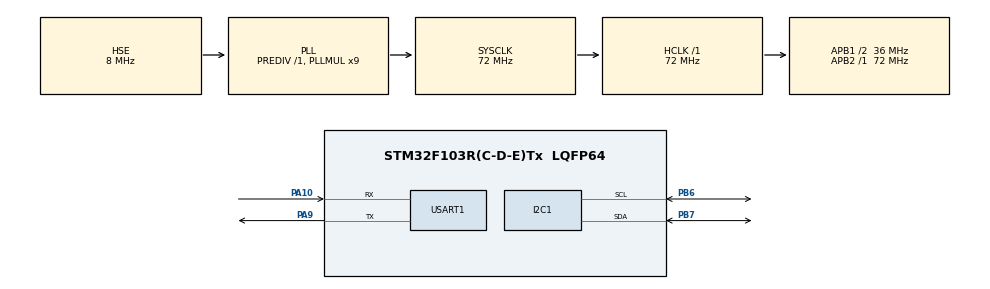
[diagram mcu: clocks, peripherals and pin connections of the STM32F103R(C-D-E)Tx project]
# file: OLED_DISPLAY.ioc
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Mcu.Family=STM32F1
Mcu.Name=STM32F103R(C-D-E)Tx
Mcu.Package=LQFP64
NVIC.PriorityGroup=NVIC_PRIORITYGROUP_4
PA10.Mode=Asynchronous
PA10.Signal=USART1_RX
PA13.Mode=Serial_Wire
PA13.Signal=SYS_JTMS-SWDIO
PA14.Mode=Serial_Wire
PA14.Signal=SYS_JTCK-SWCLK
PA9.Mode=Asynchronous
PA9.Signal=USART1_TX
PB6.Mode=I2C
PB6.Signal=I2C1_SCL
PB7.Mode=I2C
PB7.Signal=I2C1_SDA
PD0-OSC_IN.Mode=HSE-External-Oscillator
PD0-OSC_IN.Signal=RCC_OSC_IN
PD1-OSC_OUT.Mode=HSE-External-Oscillator
PD1-OSC_OUT.Signal=RCC_OSC_OUT
ProjectManager.HeapSize=0x200
ProjectManager.StackSize=0x400
ProjectManager.TargetToolchain=EWARM
RCC.AHBFreq_Value=72000000
RCC.APB1CLKDivider=RCC_HCLK_DIV2
RCC.APB1Freq_Value=36000000
RCC.APB1TimFreq_Value=72000000
RCC.APB2Freq_Value=72000000
RCC.APB2TimFreq_Value=72000000
RCC.HCLKFreq_Value=72000000
RCC.PLLMUL=RCC_PLL_MUL9
RCC.PLLSourceVirtual=RCC_PLLSOURCE_HSE
RCC.SYSCLKFreq_VALUE=72000000
RCC.SYSCLKSource=RCC_SYSCLKSOURCE_PLLCLK
RCC.USBFreq_Value=72000000
USART1.VirtualMode=VM_ASYNC
board=OLED_DISPLAY

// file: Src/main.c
/**
  ******************************************************************************
  * File Name          : main.c
  * Description        : Main program body
  ******************************************************************************
  ** This notice applies to any and all portions of this file
  * that are not between comment pairs USER CODE BEGIN and
  * USER CODE END. Other portions of this file, whether
  * inserted by the user or by software development tools
  * are owned by their respective copyright owners.
  *
  * COPYRIGHT(c) 2018 STMicroelectronics
  *
  * Redistribution and use in source and binary forms, with or without modification,
  * are permitted provided that the following conditions are met:
  *   1. Redistributions of source code must retain the above copyright notice,
  *      this list of conditions and the following disclaimer.
  *   2. Redistributions in binary form must reproduce the above copyright notice,
  *      this list of conditions and the following disclaimer in the documentation
  *      and/or other materials provided with the distribution.
  *   3. Neither the name of STMicroelectronics nor the names of its contributors
  *      may be used to endorse or promote products derived from this software
  *      without specific prior written permission.
  *
  * THIS SOFTWARE IS PROVIDED BY THE COPYRIGHT HOLDERS AND CONTRIBUTORS "AS IS"
  * AND ANY EXPRESS OR IMPLIED WARRANTIES, INCLUDING, BUT NOT LIMITED TO, THE
  * IMPLIED WARRANTIES OF MERCHANTABILITY AND FITNESS FOR A PARTICULAR PURPOSE ARE
  * DISCLAIMED. IN NO EVENT SHALL THE COPYRIGHT HOLDER OR CONTRIBUTORS BE LIABLE
  * FOR ANY DIRECT, INDIRECT, INCIDENTAL, SPECIAL, EXEMPLARY, OR CONSEQUENTIAL
  * DAMAGES (INCLUDING, BUT NOT LIMITED TO, PROCUREMENT OF SUBSTITUTE GOODS OR
  * SERVICES; LOSS OF USE, DATA, OR PROFITS; OR BUSINESS INTERRUPTION) HOWEVER
  * CAUSED AND ON ANY THEORY OF LIABILITY, WHETHER IN CONTRACT, STRICT LIABILITY,
  * OR TORT (INCLUDING NEGLIGENCE OR OTHERWISE) ARISING IN ANY WAY OUT OF THE USE
  * OF THIS SOFTWARE, EVEN IF ADVISED OF THE POSSIBILITY OF SUCH DAMAGE.
  *
  ******************************************************************************
  */

#include "main.h"
#include "stm32f1xx_hal.h"

/* USER CODE BEGIN Includes */
#include "ssd1306.h"
#include "dht11.h"
#include "dwt_stm32_delay.h"
/* USER CODE END Includes */

I2C_HandleTypeDef hi2c1;

UART_HandleTypeDef huart1;

/* USER CODE BEGIN PV */
/* Private variables ---------------------------------------------------------*/

/* USER CODE END PV */

void SystemClock_Config(void);
static void MX_GPIO_Init(void);
static void MX_I2C1_Init(void);
static void MX_USART1_UART_Init(void);

/* USER CODE BEGIN PFP */
/* Private function prototypes -----------------------------------------------*/

/* USER CODE END PFP */

/* USER CODE BEGIN 0 */
int fputc(int ch, FILE *f){
  uint8_t temp[1] = {ch};
  HAL_UART_Transmit(&huart1, temp, 1, 2);
  return ch;
}
/* USER CODE END 0 */

int main(void)
{

  /* MCU Configuration----------------------------------------------------------*/

  /* Reset of all peripherals, Initializes the Flash interface and the Systick. */
  HAL_Init();

  /* Configure the system clock */
  SystemClock_Config();

  /* Initialize all configured peripherals */
  MX_GPIO_Init();
  MX_I2C1_Init();
  MX_USART1_UART_Init();

  /* USER CODE BEGIN 2 */

	SSD1306_Init();

	SSD1306_Fill(Black);
	SSD1306_UpdateScreen();

	char temp[11] = { 0 };

	DWT_Delay_Init ();
  /* USER CODE END 2 */

  /* Infinite loop */
	while (1)
	{

	/* USER CODE BEGIN 3 */
		Read_Dht11_Data();

		SSD1306_SetCursor(0, 0);
		sprintf(temp, "Humi : %f", Get_Humidity());
		SSD1306_WriteString(temp, Font_11x18, White);

		SSD1306_SetCursor(0, 20);
		sprintf(temp, "Temp : %f", Get_Temperature());
		SSD1306_WriteString(temp, Font_11x18, White);

		SSD1306_UpdateScreen();

		HAL_Delay(2000);
	}
  /* USER CODE END 3 */

}

/** System Clock Configuration
*/
void SystemClock_Config(void)
{

  RCC_OscInitTypeDef RCC_OscInitStruct;
  RCC_ClkInitTypeDef RCC_ClkInitStruct;

    /**Initializes the CPU, AHB and APB busses clocks
    */
  RCC_OscInitStruct.OscillatorType = RCC_OSCILLATORTYPE_HSE;
  RCC_OscInitStruct.HSEState = RCC_HSE_ON;
  RCC_OscInitStruct.HSEPredivValue = RCC_HSE_PREDIV_DIV1;
  RCC_OscInitStruct.HSIState = RCC_HSI_ON;
  RCC_OscInitStruct.PLL.PLLState = RCC_PLL_ON;
  RCC_OscInitStruct.PLL.PLLSource = RCC_PLLSOURCE_HSE;
  RCC_OscInitStruct.PLL.PLLMUL = RCC_PLL_MUL9;
  if (HAL_RCC_OscConfig(&RCC_OscInitStruct) != HAL_OK)
  {
    _Error_Handler(__FILE__, __LINE__);
  }

    /**Initializes the CPU, AHB and APB busses clocks
    */
  RCC_ClkInitStruct.ClockType = RCC_CLOCKTYPE_HCLK|RCC_CLOCKTYPE_SYSCLK
                              |RCC_CLOCKTYPE_PCLK1|RCC_CLOCKTYPE_PCLK2;
  RCC_ClkInitStruct.SYSCLKSource = RCC_SYSCLKSOURCE_PLLCLK;
  RCC_ClkInitStruct.AHBCLKDivider = RCC_SYSCLK_DIV1;
  RCC_ClkInitStruct.APB1CLKDivider = RCC_HCLK_DIV2;
  RCC_ClkInitStruct.APB2CLKDivider = RCC_HCLK_DIV1;

  if (HAL_RCC_ClockConfig(&RCC_ClkInitStruct, FLASH_LATENCY_2) != HAL_OK)
  {
    _Error_Handler(__FILE__, __LINE__);
  }

    /**Configure the Systick interrupt time
    */
  HAL_SYSTICK_Config(HAL_RCC_GetHCLKFreq()/1000);

    /**Configure the Systick
    */
  HAL_SYSTICK_CLKSourceConfig(SYSTICK_CLKSOURCE_HCLK);

  /* SysTick_IRQn interrupt configuration */
  HAL_NVIC_SetPriority(SysTick_IRQn, 0, 0);
}

/* I2C1 init function */
static void MX_I2C1_Init(void)
{

  hi2c1.Instance = I2C1;
  hi2c1.Init.ClockSpeed = 100000;
  hi2c1.Init.DutyCycle = I2C_DUTYCYCLE_2;
  hi2c1.Init.OwnAddress1 = 0;
  hi2c1.Init.AddressingMode = I2C_ADDRESSINGMODE_7BIT;
  hi2c1.Init.DualAddressMode = I2C_DUALADDRESS_DISABLE;
  hi2c1.Init.OwnAddress2 = 0;
  hi2c1.Init.GeneralCallMode = I2C_GENERALCALL_DISABLE;
  hi2c1.Init.NoStretchMode = I2C_NOSTRETCH_DISABLE;
  if (HAL_I2C_Init(&hi2c1) != HAL_OK)
  {
    _Error_Handler(__FILE__, __LINE__);
  }

}

/* USART1 init function */
static void MX_USART1_UART_Init(void)
{

  huart1.Instance = USART1;
  huart1.Init.BaudRate = 115200;
  huart1.Init.WordLength = UART_WORDLENGTH_8B;
  huart1.Init.StopBits = UART_STOPBITS_1;
  huart1.Init.Parity = UART_PARITY_NONE;
  huart1.Init.Mode = UART_MODE_TX_RX;
  huart1.Init.HwFlowCtl = UART_HWCONTROL_NONE;
  huart1.Init.OverSampling = UART_OVERSAMPLING_16;
  if (HAL_UART_Init(&huart1) != HAL_OK)
  {
    _Error_Handler(__FILE__, __LINE__);
  }

}

/** Configure pins as
        * Analog
        * Input
        * Output
        * EVENT_OUT
        * EXTI
*/
static void MX_GPIO_Init(void)
{

  /* GPIO Ports Clock Enable */
  __HAL_RCC_GPIOD_CLK_ENABLE();
  __HAL_RCC_GPIOA_CLK_ENABLE();
  __HAL_RCC_GPIOB_CLK_ENABLE();

}

void _Error_Handler(char * file, int line)
{
  while(1)
  {
  }
}

/************************ (C) COPYRIGHT STMicroelectronics *****END OF FILE****/
